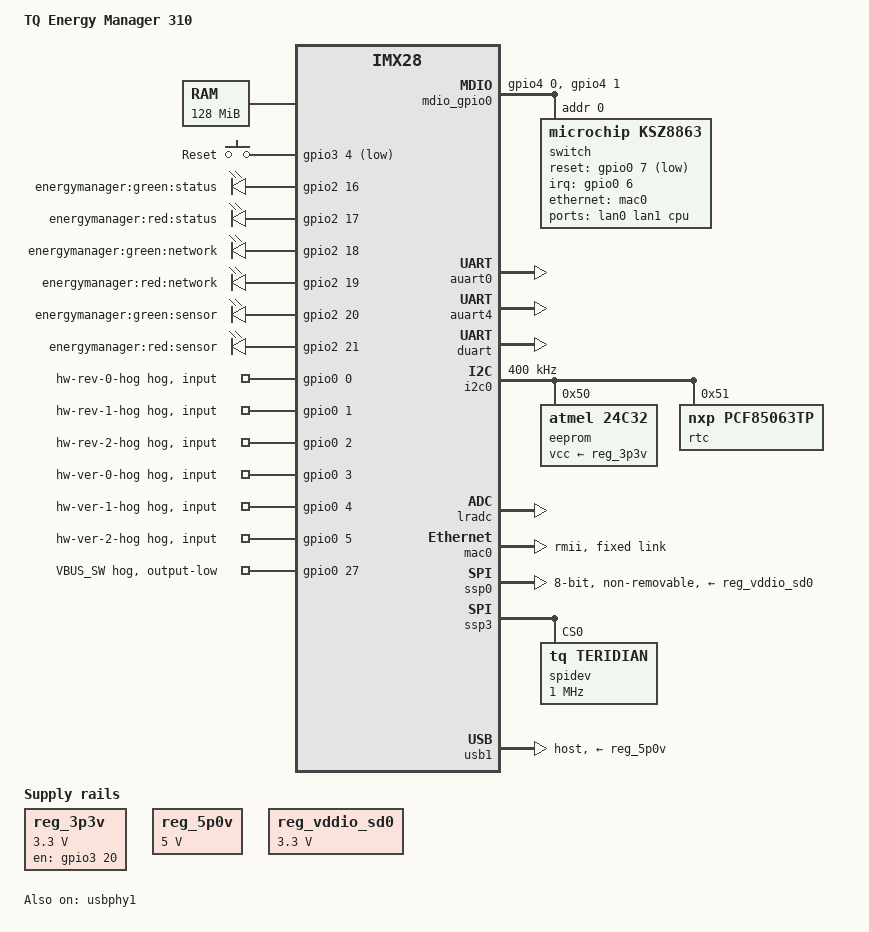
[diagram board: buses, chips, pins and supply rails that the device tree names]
// SPDX-License-Identifier: GPL-2.0-or-later
/*
 * Copyright (c) 2023 - 2024 TQ-Systems GmbH <linux@ew.tq-group.com>,
 * D-82229 Seefeld, Germany.
 * Author: Michael Krummsdorf
 */

/dts-v1/;

#include <dt-bindings/gpio/gpio.h>
#include <dt-bindings/input/input.h>
#include <dt-bindings/interrupt-controller/irq.h>
#include "imx28.dtsi"

/ {
	model = "TQ Energy Manager 310";
	compatible = "tq,em310", "fsl,imx28";

	aliases {
		spi0 = &ssp3;

		serial0 = &duart;
		serial1 = &auart4;
		serial2 = &auart0;
		/delete-property/ serial4;

		ethernet1 = &lan1;
		mdio-gpio0 = &mdio_gpio0;
	};

	memory@40000000 {
		device_type = "memory";
		reg = <0x40000000 0x08000000>;
	};

	buttons {
		compatible = "gpio-keys";
		pinctrl-names = "default";
		pinctrl-0 = <&buttons>;

		reset-button {
			label = "Reset";
			gpios = <&gpio3 4 GPIO_ACTIVE_LOW>;
			linux,code = <KEY_RESTART>;
		};
	};

	leds {
		compatible = "gpio-leds";
		pinctrl-names = "default";
		pinctrl-0 = <&led_pins_a>;

		led-gn-1 {
			gpios = <&gpio2 16 GPIO_ACTIVE_HIGH>;
			label = "energymanager:green:status";
			linux,default-trigger = "timer";
		};

		led-rd-1 {
			gpios = <&gpio2 17 GPIO_ACTIVE_HIGH>;
			label = "energymanager:red:status";
		};

		led-gn-2 {
			gpios = <&gpio2 18 GPIO_ACTIVE_HIGH>;
			label = "energymanager:green:network";
		};

		led-rd-2 {
			gpios = <&gpio2 19 GPIO_ACTIVE_HIGH>;
			label = "energymanager:red:network";
		};

		led-gn-3 {
			gpios = <&gpio2 20 GPIO_ACTIVE_HIGH>;
			label = "energymanager:green:sensor";
		};

		led-rd-3 {
			gpios = <&gpio2 21 GPIO_ACTIVE_HIGH>;
			label = "energymanager:red:sensor";
		};
	};

	mdio_gpio0: mdio {
		compatible = "microchip,mdio-smi0";
		#address-cells = <1>;
		#size-cells = <0>;
		pinctrl-names = "default";
		pinctrl-0 = <&mac0_smi_pins_a>,
			    <&mac0_enet_reset>,
			    <&mac0_enet_int>;

		gpios = <&gpio4 0 GPIO_ACTIVE_HIGH>,
			<&gpio4 1 GPIO_ACTIVE_HIGH>;

		switch@0 {
			compatible = "microchip,ksz8863";
			reg = <0>;
			interrupt-parent = <&gpio0>;
			interrupts = <6 IRQ_TYPE_LEVEL_LOW>;
			reset-gpios = <&gpio0 7 GPIO_ACTIVE_LOW>;
			microchip,io-drive-strength-microamp = <8000>;

			ports {
				#address-cells = <1>;
				#size-cells = <0>;

				lan0: port@0 {
					reg = <0>;
					label = "lan0";
					phy-mode = "internal";
				};

				lan1: port@1 {
					reg = <1>;
					label = "lan1";
					phy-mode = "internal";
				};

				port@2 {
					reg = <2>;
					label = "cpu";
					ethernet = <&mac0>;
					phy-mode = "rmii";
					microchip,rmii-clk-internal;

					fixed-link {
						speed = <100>;
						full-duplex;
					};
				};
			};
		};
	};

	reg_3p3v: 3p3v {
		compatible = "regulator-fixed";
		enable-active-high;
		gpio = <&gpio3 20 GPIO_ACTIVE_HIGH>;
		regulator-name = "3P3V";
		regulator-min-microvolt = <3300000>;
		regulator-max-microvolt = <3300000>;
		regulator-always-on;
		regulator-ramp-delay = <33>; /* need 100ms: delay = (new_uV - old_uV) / ramp_delay */
	};

	reg_5p0v: 5p0v {
		compatible = "regulator-fixed";
		regulator-name = "5P0V";
		regulator-min-microvolt = <5000000>;
		regulator-max-microvolt = <5000000>;
		regulator-always-on;
	};

	reg_vddio_sd0: vddio-sd0 {
		compatible = "regulator-fixed";
		regulator-name = "vddio-sd0";
		regulator-min-microvolt = <3300000>;
		regulator-max-microvolt = <3300000>;
		regulator-always-on;
	};
};

&auart0 {
	pinctrl-names = "default";
	pinctrl-0 = <&auart0_3pins_a>;
	fsl,rs485-uart;
	status = "okay";
};

&auart4 {
	pinctrl-names = "default";
	pinctrl-0 = <&auart4_3pins_a>;
	fsl,rs485-uart;
	status = "okay";
};

&duart {
	pinctrl-names = "default";
	pinctrl-0 = <&duart_pins_a>;
	status = "okay";
};

&gpio0 {
	pinctrl-names = "default";
	pinctrl-0 = <&gpio0_pins_a>;
	gpio-line-names =
		"", "", "", "",
		"", "", "", "",
		"", "", "", "",
		"", "", "", "",
		"", "", "", "",
		"", "", "", "",
		"", "energymanager:vbus:enable", "energymanager:vbus:fault#", "",
		"", "", "", "";

	hw-rev-0-hog {
		gpio-hog;
		gpios = <0 GPIO_ACTIVE_HIGH>;
		input;
	};

	hw-rev-1-hog {
		gpio-hog;
		gpios = <1 GPIO_ACTIVE_HIGH>;
		input;
	};

	hw-rev-2-hog {
		gpio-hog;
		gpios = <2 GPIO_ACTIVE_HIGH>;
		input;
	};

	hw-ver-0-hog {
		gpio-hog;
		gpios = <3 GPIO_ACTIVE_HIGH>;
		input;
	};

	hw-ver-1-hog {
		gpio-hog;
		gpios = <4 GPIO_ACTIVE_HIGH>;
		input;
	};

	hw-ver-2-hog {
		gpio-hog;
		gpios = <5 GPIO_ACTIVE_HIGH>;
		input;
	};

	vbus-sw-hog {
		gpio-hog;
		gpios = <27 GPIO_ACTIVE_HIGH>;
		line-name = "VBUS_SW";
		output-low;
	};
};

&gpio3 {
	gpio-line-names =
		"", "", "", "",
		"", "energymanager:mb:enable#", "", "",
		"", "", "", "",
		"", "", "", "",
		"", "", "", "",
		"", "", "", "",
		"", "", "", "",
		"", "", "", "";
};

&i2c0 {
	pinctrl-names = "default";
	pinctrl-0 = <&i2c0_pins_a>;
	clock-frequency = <400000>;
	status = "okay";

	eeprom@50 {
		compatible = "atmel,24c32";
		reg = <0x50>;
		read-only;
		vcc-supply = <&reg_3p3v>;
	};

	rtc@51 {
		compatible = "nxp,pcf85063tp";
		reg = <0x51>;
		quartz-load-femtofarads = <12500>;
	};
};

&lradc {
	status = "okay";
};

&mac0 {
	pinctrl-names = "default";
	pinctrl-0 = <&mac0_pins_c>;
	clock-names = "ipg", "ahb";
	clocks = <&clks 57>, <&clks 57>;
	phy-connection-type = "rmii";
	status = "okay";

	fixedphy: fixed-link {
		speed = <100>;
		full-duplex;
	};
};

&pinctrl {
	auart0_3pins_a: auart03pinsgrp@0 {
		reg = <0>;
		fsl,pinmux-ids = <
			MX28_PAD_AUART0_RX__AUART0_RX
			MX28_PAD_AUART0_TX__AUART0_TX
			MX28_PAD_AUART0_RTS__AUART0_RTS
		>;
		fsl,drive-strength = <MXS_DRIVE_4mA>;
		fsl,voltage = <MXS_VOLTAGE_HIGH>;
		fsl,pull-up = <MXS_PULL_DISABLE>;
	};

	auart4_3pins_a: auart43pinsgrp@0 {
		reg = <0>;
		fsl,pinmux-ids = <
			MX28_PAD_SAIF0_BITCLK__AUART4_RX
			MX28_PAD_SAIF0_SDATA0__AUART4_TX
			MX28_PAD_SAIF0_LRCLK__AUART4_RTS
		>;
		fsl,drive-strength = <MXS_DRIVE_4mA>;
		fsl,voltage = <MXS_VOLTAGE_HIGH>;
		fsl,pull-up = <MXS_PULL_DISABLE>;
	};

	buttons: buttonsgrp@0 {
		reg = <0>;
		fsl,pinmux-ids = <
			MX28_PAD_AUART1_RX__GPIO_3_4
		>;
		fsl,drive-strength = <MXS_DRIVE_4mA>;
		fsl,voltage = <MXS_VOLTAGE_HIGH>;
		fsl,pull-up = <MXS_PULL_DISABLE>;
	};

	gpio0_pins_a: gpio0grp@0 {
		reg = <0>;
		fsl,pinmux-ids = <
			/* revision/version pads */
			MX28_PAD_GPMI_D00__GPIO_0_0
			MX28_PAD_GPMI_D01__GPIO_0_1
			MX28_PAD_GPMI_D02__GPIO_0_2
			MX28_PAD_GPMI_D03__GPIO_0_3
			MX28_PAD_GPMI_D04__GPIO_0_4
			MX28_PAD_GPMI_D05__GPIO_0_5
			MX28_PAD_SAIF0_MCLK__GPIO_3_20
			/* energymanager:vbus:enable (VBUS_EN) */
			MX28_PAD_GPMI_WRN__GPIO_0_25
			/* energymanager:vbus:fault# (VBUS_FAULT#) */
			MX28_PAD_GPMI_ALE__GPIO_0_26
			/* VBUS_SW */
			MX28_PAD_GPMI_CLE__GPIO_0_27
		>;
		fsl,drive-strength = <MXS_DRIVE_8mA>;
		fsl,voltage = <MXS_VOLTAGE_HIGH>;
		fsl,pull-up = <MXS_PULL_DISABLE>;
	};

	led_pins_a: ledgpiogrp@0 {
		reg = <0>;
		fsl,pinmux-ids = <
			MX28_PAD_SSP2_SCK__GPIO_2_16
			MX28_PAD_SSP2_MOSI__GPIO_2_17
			MX28_PAD_SSP2_MISO__GPIO_2_18
			MX28_PAD_SSP2_SS0__GPIO_2_19
			MX28_PAD_SSP2_SS1__GPIO_2_20
			MX28_PAD_SSP2_SS2__GPIO_2_21
		>;
		fsl,drive-strength = <MXS_DRIVE_4mA>;
		fsl,voltage = <MXS_VOLTAGE_HIGH>;
		fsl,pull-up = <MXS_PULL_DISABLE>;
	};

	mac0_enet_int: mac0intgrp@0 {
		reg = <0>;
		fsl,pinmux-ids = <
			MX28_PAD_GPMI_D06__GPIO_0_6   /* ENET.INT# */
		>;
		fsl,drive-strength = <MXS_DRIVE_8mA>;
		fsl,voltage = <MXS_VOLTAGE_HIGH>;
		fsl,pull-up = <MXS_PULL_ENABLE>;
	};

	mac0_enet_reset: mac0resetgrp@0 {
		reg = <0>;
		fsl,pinmux-ids = <
			MX28_PAD_GPMI_D07__GPIO_0_7   /* ENET.RST# */
		>;
		fsl,drive-strength = <MXS_DRIVE_8mA>;
		fsl,voltage = <MXS_VOLTAGE_HIGH>;
		fsl,pull-up = <MXS_PULL_ENABLE>;
	};

	mac0_pins_c: mac0grp@0 {
		reg = <0>;
		fsl,pinmux-ids = <
			MX28_PAD_ENET0_RX_EN__ENET0_RX_EN
			MX28_PAD_ENET0_RXD0__ENET0_RXD0
			MX28_PAD_ENET0_RXD1__ENET0_RXD1
			MX28_PAD_ENET0_TX_EN__ENET0_TX_EN
			MX28_PAD_ENET0_TXD0__ENET0_TXD0
			MX28_PAD_ENET0_TXD1__ENET0_TXD1
			MX28_PAD_ENET_CLK__CLKCTRL_ENET
		>;
		fsl,drive-strength = <MXS_DRIVE_8mA>;
		fsl,voltage = <MXS_VOLTAGE_HIGH>;
		fsl,pull-up = <MXS_PULL_ENABLE>;
	};

	mac0_smi_pins_a: mac0smigrp@0 {
		reg = <0>;
		fsl,pinmux-ids = <
			MX28_PAD_ENET0_MDC__GPIO_4_0  /* ENET.MDC */
			MX28_PAD_ENET0_MDIO__GPIO_4_1 /* ENET.MDIO */
		>;
		fsl,drive-strength = <MXS_DRIVE_8mA>;
		fsl,voltage = <MXS_VOLTAGE_HIGH>;
		fsl,pull-up = <MXS_PULL_ENABLE>;
	};

	spi3_pins_c: spi3grp@0 {
		reg = <0>;
		fsl,pinmux-ids = <
			MX28_PAD_GPMI_CE0N__SSP3_D0
			MX28_PAD_GPMI_CE1N__SSP3_D3
			MX28_PAD_GPMI_RDN__SSP3_SCK
			MX28_PAD_GPMI_RESETN__SSP3_CMD
			MX28_PAD_AUART1_TX__GPIO_3_5
		>;
		fsl,drive-strength = <MXS_DRIVE_8mA>;
		fsl,voltage = <MXS_VOLTAGE_HIGH>;
		fsl,pull-up = <MXS_PULL_DISABLE>;
	};
};

&ssp0 {
	compatible = "fsl,imx28-mmc";
	pinctrl-names = "default";
	pinctrl-0 = <&mmc0_8bit_pins_a>;
	bus-width = <8>;
	non-removable;
	no-sd;
	no-sdio;
	vmmc-supply = <&reg_vddio_sd0>;
	status = "okay";
};

&ssp3 {
	compatible = "fsl,imx28-spi";
	pinctrl-names = "default";
	pinctrl-0 = <&spi3_pins_c>;
	status = "okay";

	spidev@0 {
		compatible = "tq,teridian";
		reg = <0>;
		spi-max-frequency = <1000000>;
	};
};

&usb1 {
	disable-over-current;
	dr_mode = "host";
	vbus-supply = <&reg_5p0v>;
	status = "okay";
};

&usbphy1 {
	status = "okay";
};
